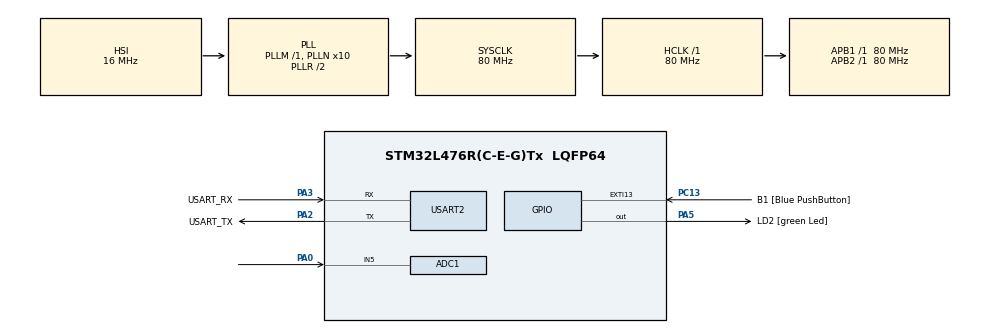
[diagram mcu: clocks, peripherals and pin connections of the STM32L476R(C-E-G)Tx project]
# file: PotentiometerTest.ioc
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ADC1.Channel-3\#ChannelRegularConversion=ADC_CHANNEL_5
ADC1.NbrOfConversionFlag=1
ADC1.OffsetNumber-3\#ChannelRegularConversion=ADC_OFFSET_NONE
ADC1.Rank-3\#ChannelRegularConversion=1
ADC1.SamplingTime-3\#ChannelRegularConversion=ADC_SAMPLETIME_2CYCLES_5
ADC1.master=1
Mcu.Family=STM32L4
Mcu.Name=STM32L476R(C-E-G)Tx
Mcu.Package=LQFP64
NVIC.PriorityGroup=NVIC_PRIORITYGROUP_4
PA0.Signal=SharedAnalog_PA0
PA13\ (JTMS-SWDIO).GPIO_Label=TMS
PA13\ (JTMS-SWDIO).Mode=Serial_Wire
PA13\ (JTMS-SWDIO).Signal=SYS_JTMS-SWDIO
PA14\ (JTCK-SWCLK).GPIO_Label=TCK
PA14\ (JTCK-SWCLK).Mode=Serial_Wire
PA14\ (JTCK-SWCLK).Signal=SYS_JTCK-SWCLK
PA2.GPIO_Label=USART_TX
PA2.GPIO_Mode=GPIO_MODE_AF_PP
PA2.GPIO_PuPd=GPIO_NOPULL
PA2.GPIO_Speed=GPIO_SPEED_FREQ_VERY_HIGH
PA2.Mode=Asynchronous
PA2.Signal=USART2_TX
PA3.GPIO_Label=USART_RX
PA3.GPIO_Mode=GPIO_MODE_AF_PP
PA3.GPIO_PuPd=GPIO_NOPULL
PA3.GPIO_Speed=GPIO_SPEED_FREQ_VERY_HIGH
PA3.Mode=Asynchronous
PA3.Signal=USART2_RX
PA5.GPIO_Label=LD2 [green Led]
PA5.GPIO_ModeDefaultOutputPP=GPIO_MODE_OUTPUT_PP
PA5.GPIO_PuPd=GPIO_NOPULL
PA5.GPIO_Speed=GPIO_SPEED_FREQ_LOW
PA5.Signal=GPIO_Output
PB3\ (JTDO-TRACESWO).GPIO_Label=SWO
PB3\ (JTDO-TRACESWO).Signal=SYS_JTDO-SWO
PC13.GPIO_Label=B1 [Blue PushButton]
PC13.GPIO_ModeDefaultEXTI=GPIO_MODE_IT_FALLING
PC13.GPIO_PuPd=GPIO_NOPULL
PC13.Signal=GPXTI13
PC14-OSC32_IN\ (PC14).Mode=LSE-External-Oscillator
PC14-OSC32_IN\ (PC14).Signal=RCC_OSC32_IN
PC15-OSC32_OUT\ (PC15).Mode=LSE-External-Oscillator
PC15-OSC32_OUT\ (PC15).Signal=RCC_OSC32_OUT
PH0-OSC_IN\ (PH0).Signal=RCC_OSC_IN
PH1-OSC_OUT\ (PH1).Signal=RCC_OSC_OUT
ProjectManager.HeapSize=0x200
ProjectManager.StackSize=0x400
ProjectManager.TargetToolchain=STM32CubeIDE
RCC.ADCFreq_Value=64000000
RCC.AHBFreq_Value=80000000
RCC.APB1Freq_Value=80000000
RCC.APB1TimFreq_Value=80000000
RCC.APB2Freq_Value=80000000
RCC.APB2TimFreq_Value=80000000
RCC.CortexFreq_Value=80000000
RCC.HCLKFreq_Value=80000000
RCC.HSE_VALUE=8000000
RCC.HSI_VALUE=16000000
RCC.MSI_VALUE=4000000
RCC.PLLN=10
RCC.PLLSourceVirtual=RCC_PLLSOURCE_HSI
RCC.PREFETCH_ENABLE=1
RCC.SYSCLKFreq_VALUE=80000000
RCC.SYSCLKSource=RCC_SYSCLKSOURCE_PLLCLK
RCC.USBFreq_Value=64000000
RCC.VCOOutputFreq_Value=160000000
SH.SharedAnalog_PA0.0=GPIO_Analog
SH.SharedAnalog_PA0.1=ADC1_IN5,IN5-Single-Ended
USART2.VirtualMode-Asynchronous=VM_ASYNC
board=NUCLEO-L476RG

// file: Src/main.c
/* USER CODE BEGIN Header */
/**
  ******************************************************************************
  * @file           : main.c
  * @brief          : Main program body
  ******************************************************************************
  * @attention
  *
  * <h2><center>&copy; Copyright (c) 2019 STMicroelectronics.
  * All rights reserved.</center></h2>
  *
  * This software component is licensed by ST under BSD 3-Clause license,
  * the "License"; You may not use this file except in compliance with the
  * License. You may obtain a copy of the License at:
  *                        opensource.org/licenses/BSD-3-Clause
  *
  ******************************************************************************
  */
/* USER CODE END Header */

#include "main.h"

ADC_HandleTypeDef hadc1;

UART_HandleTypeDef huart2;

/* USER CODE BEGIN PV */
int maxADC = 4032;
int __io_putchar(int ch)
{
 uint8_t c[1];
 c[0] = ch & 0x00FF;
 HAL_UART_Transmit(&huart2, &*c, 1, 10);
 return ch;
}
/* USER CODE END PV */

void SystemClock_Config(void);
static void MX_GPIO_Init(void);
static void MX_USART2_UART_Init(void);
static void MX_ADC1_Init(void);

int main(void)
{

  /* MCU Configuration--------------------------------------------------------*/

  /* Reset of all peripherals, Initializes the Flash interface and the Systick. */
  HAL_Init();

  /* Configure the system clock */
  SystemClock_Config();

  /* Initialize all configured peripherals */
  MX_GPIO_Init();
  MX_USART2_UART_Init();
  MX_ADC1_Init();

  /* Infinite loop */
  /* USER CODE BEGIN WHILE */
  while (1)
  {
	  HAL_ADC_Start(&hadc1);
	  HAL_ADC_PollForConversion(&hadc1, 100);
	  //wait for conversion process to finish before getting value
	  uint32_t adcValue;
	  adcValue = HAL_ADC_GetValue(&hadc1);

  	  //determining voltage value from pot value
	  float voltageValue = adcValue;
	  voltageValue = voltageValue*(3.3/4032.0); //conversion from pot value to voltage value
	  //char voltageVal[4] = {0}; //char array creation
	  //sprintf(voltageVal, "%2.1f", voltageValue); //print voltage value to char array

	  //_write(0, (voltageVal), 4); //writes voltageVal to serial output
	  //_write(0, "\n", 1); //writes in a new line

	  int adcDigit = (((float) adcValue / (float) maxADC) * 4) + 1;
	  printf("digit: %d \n", adcDigit);
	  printf("voltage: %2.2f \n", voltageValue);
	  //char adcVal[4] = {0};
	  //sprintf(adcVal, "%u", adcValue);
	  //_write(0, (adcVal), 4);
	  //_write(0, "\n", 1);
	  HAL_Delay(200);
    /* USER CODE END WHILE */

  }
}

void SystemClock_Config(void)
{
  RCC_OscInitTypeDef RCC_OscInitStruct = {0};
  RCC_ClkInitTypeDef RCC_ClkInitStruct = {0};
  RCC_PeriphCLKInitTypeDef PeriphClkInit = {0};

  /** Initializes the CPU, AHB and APB busses clocks
  */
  RCC_OscInitStruct.OscillatorType = RCC_OSCILLATORTYPE_HSI;
  RCC_OscInitStruct.HSIState = RCC_HSI_ON;
  RCC_OscInitStruct.HSICalibrationValue = RCC_HSICALIBRATION_DEFAULT;
  RCC_OscInitStruct.PLL.PLLState = RCC_PLL_ON;
  RCC_OscInitStruct.PLL.PLLSource = RCC_PLLSOURCE_HSI;
  RCC_OscInitStruct.PLL.PLLM = 1;
  RCC_OscInitStruct.PLL.PLLN = 10;
  RCC_OscInitStruct.PLL.PLLP = RCC_PLLP_DIV7;
  RCC_OscInitStruct.PLL.PLLQ = RCC_PLLQ_DIV2;
  RCC_OscInitStruct.PLL.PLLR = RCC_PLLR_DIV2;
  if (HAL_RCC_OscConfig(&RCC_OscInitStruct) != HAL_OK)
  {
    Error_Handler();
  }
  /** Initializes the CPU, AHB and APB busses clocks
  */
  RCC_ClkInitStruct.ClockType = RCC_CLOCKTYPE_HCLK|RCC_CLOCKTYPE_SYSCLK
                              |RCC_CLOCKTYPE_PCLK1|RCC_CLOCKTYPE_PCLK2;
  RCC_ClkInitStruct.SYSCLKSource = RCC_SYSCLKSOURCE_PLLCLK;
  RCC_ClkInitStruct.AHBCLKDivider = RCC_SYSCLK_DIV1;
  RCC_ClkInitStruct.APB1CLKDivider = RCC_HCLK_DIV1;
  RCC_ClkInitStruct.APB2CLKDivider = RCC_HCLK_DIV1;

  if (HAL_RCC_ClockConfig(&RCC_ClkInitStruct, FLASH_LATENCY_4) != HAL_OK)
  {
    Error_Handler();
  }
  PeriphClkInit.PeriphClockSelection = RCC_PERIPHCLK_USART2|RCC_PERIPHCLK_ADC;
  PeriphClkInit.Usart2ClockSelection = RCC_USART2CLKSOURCE_PCLK1;
  PeriphClkInit.AdcClockSelection = RCC_ADCCLKSOURCE_PLLSAI1;
  PeriphClkInit.PLLSAI1.PLLSAI1Source = RCC_PLLSOURCE_HSI;
  PeriphClkInit.PLLSAI1.PLLSAI1M = 1;
  PeriphClkInit.PLLSAI1.PLLSAI1N = 8;
  PeriphClkInit.PLLSAI1.PLLSAI1P = RCC_PLLP_DIV7;
  PeriphClkInit.PLLSAI1.PLLSAI1Q = RCC_PLLQ_DIV2;
  PeriphClkInit.PLLSAI1.PLLSAI1R = RCC_PLLR_DIV2;
  PeriphClkInit.PLLSAI1.PLLSAI1ClockOut = RCC_PLLSAI1_ADC1CLK;
  if (HAL_RCCEx_PeriphCLKConfig(&PeriphClkInit) != HAL_OK)
  {
    Error_Handler();
  }
  /** Configure the main internal regulator output voltage
  */
  if (HAL_PWREx_ControlVoltageScaling(PWR_REGULATOR_VOLTAGE_SCALE1) != HAL_OK)
  {
    Error_Handler();
  }
}

static void MX_ADC1_Init(void)
{

  ADC_MultiModeTypeDef multimode = {0};
  ADC_ChannelConfTypeDef sConfig = {0};

  /** Common config
  */
  hadc1.Instance = ADC1;
  hadc1.Init.ClockPrescaler = ADC_CLOCK_ASYNC_DIV4; /*!< ADC asynchronous clock with prescaler division by 4 */
  hadc1.Init.Resolution = ADC_RESOLUTION_12B;
  hadc1.Init.DataAlign = ADC_DATAALIGN_RIGHT;
  hadc1.Init.ScanConvMode = ADC_SCAN_DISABLE;
  hadc1.Init.EOCSelection = ADC_EOC_SINGLE_CONV;
  hadc1.Init.LowPowerAutoWait = DISABLE;
  hadc1.Init.ContinuousConvMode = DISABLE;
  hadc1.Init.NbrOfConversion = 5; //not sure how much this affects function
  hadc1.Init.DiscontinuousConvMode = DISABLE;
  hadc1.Init.ExternalTrigConv = ADC_SOFTWARE_START;
  hadc1.Init.ExternalTrigConvEdge = ADC_EXTERNALTRIGCONVEDGE_NONE;
  hadc1.Init.DMAContinuousRequests = DISABLE;
  hadc1.Init.Overrun = ADC_OVR_DATA_PRESERVED;
  hadc1.Init.OversamplingMode = DISABLE;
  if (HAL_ADC_Init(&hadc1) != HAL_OK)
  {
    Error_Handler();
  }
  /** Configure the ADC multi-mode
  */
  multimode.Mode = ADC_MODE_INDEPENDENT;
  if (HAL_ADCEx_MultiModeConfigChannel(&hadc1, &multimode) != HAL_OK)
  {
    Error_Handler();
  }
  /** Configure Regular Channel
  */
  sConfig.Channel = ADC_CHANNEL_5; //Pin A0 is set to ADC Channel 5 by default
  sConfig.Rank = ADC_REGULAR_RANK_1;
  sConfig.SamplingTime = ADC_SAMPLETIME_47CYCLES_5; //Important: 47 Cycles was deemed long enough (by experimentation) to actually get a significant sample out of the ADC module
  sConfig.SingleDiff = ADC_SINGLE_ENDED;
  sConfig.OffsetNumber = ADC_OFFSET_NONE;
  sConfig.Offset = 0;
  if (HAL_ADC_ConfigChannel(&hadc1, &sConfig) != HAL_OK)
  {
    Error_Handler();
  }

}

static void MX_USART2_UART_Init(void)
{

  huart2.Instance = USART2;
  huart2.Init.BaudRate = 115200;
  huart2.Init.WordLength = UART_WORDLENGTH_8B;
  huart2.Init.StopBits = UART_STOPBITS_1;
  huart2.Init.Parity = UART_PARITY_NONE;
  huart2.Init.Mode = UART_MODE_TX_RX;
  huart2.Init.HwFlowCtl = UART_HWCONTROL_NONE;
  huart2.Init.OverSampling = UART_OVERSAMPLING_16;
  huart2.Init.OneBitSampling = UART_ONE_BIT_SAMPLE_DISABLE;
  huart2.AdvancedInit.AdvFeatureInit = UART_ADVFEATURE_NO_INIT;
  if (HAL_UART_Init(&huart2) != HAL_OK)
  {
    Error_Handler();
  }

}

static void MX_GPIO_Init(void)
{
  GPIO_InitTypeDef GPIO_InitStruct = {0};

  /* GPIO Ports Clock Enable */
  __HAL_RCC_GPIOC_CLK_ENABLE();
  __HAL_RCC_GPIOH_CLK_ENABLE();
  __HAL_RCC_GPIOA_CLK_ENABLE();
  __HAL_RCC_GPIOB_CLK_ENABLE();

  /*Configure GPIO pin Output Level */
  HAL_GPIO_WritePin(LD2_GPIO_Port, LD2_Pin, GPIO_PIN_RESET);

  /*Configure GPIO pin : B1_Pin */
  GPIO_InitStruct.Pin = B1_Pin;
  GPIO_InitStruct.Mode = GPIO_MODE_IT_FALLING;
  GPIO_InitStruct.Pull = GPIO_NOPULL;
  HAL_GPIO_Init(B1_GPIO_Port, &GPIO_InitStruct);

  /*Configure GPIO pin : PA0 */
  GPIO_InitStruct.Pin = GPIO_PIN_0;
  GPIO_InitStruct.Mode = GPIO_MODE_ANALOG_ADC_CONTROL;
  GPIO_InitStruct.Pull = GPIO_NOPULL;
  HAL_GPIO_Init(GPIOA, &GPIO_InitStruct);

  /*Configure GPIO pin : LD2_Pin */
  GPIO_InitStruct.Pin = LD2_Pin;
  GPIO_InitStruct.Mode = GPIO_MODE_OUTPUT_PP;
  GPIO_InitStruct.Pull = GPIO_NOPULL;
  GPIO_InitStruct.Speed = GPIO_SPEED_FREQ_LOW;
  HAL_GPIO_Init(LD2_GPIO_Port, &GPIO_InitStruct);

}

void Error_Handler(void)
{
}

/************************ (C) COPYRIGHT STMicroelectronics *****END OF FILE****/
